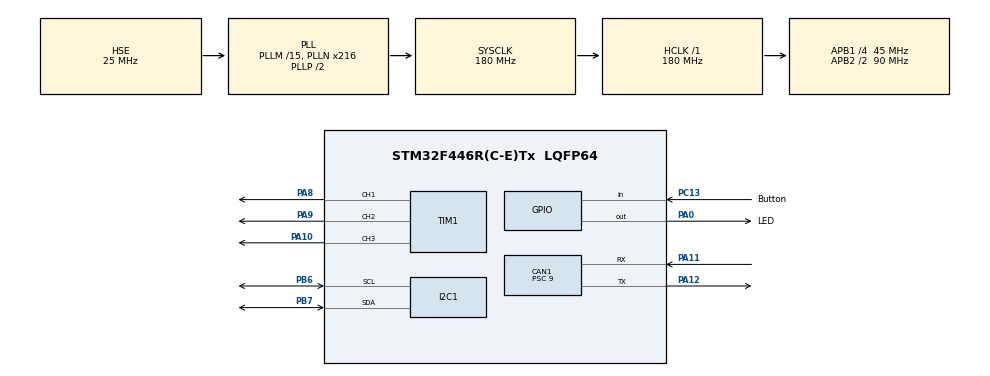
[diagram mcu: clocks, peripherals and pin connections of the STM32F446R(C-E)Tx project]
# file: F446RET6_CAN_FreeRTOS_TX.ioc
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CAN1.BS1=CAN_BS1_2TQ
CAN1.BS2=CAN_BS2_2TQ
CAN1.CalculateBaudRate=1000000
CAN1.CalculateTimeBit=1000
CAN1.CalculateTimeQuantum=200.0
CAN1.Prescaler=9
I2C1.I2C_Mode=I2C_Fast
Mcu.Family=STM32F4
Mcu.Name=STM32F446R(C-E)Tx
Mcu.Package=LQFP64
NVIC.CAN1_RX0_IRQn=true\:0\:0\:false\:false\:true\:true\:true\:true
NVIC.PriorityGroup=NVIC_PRIORITYGROUP_4
NVIC.TIM2_IRQn=true\:0\:0\:false\:false\:true\:true\:true\:true
PA0-WKUP.GPIO_Label=LED
PA0-WKUP.Signal=GPIO_Output
PA10.Signal=S_TIM1_CH3
PA11.Mode=CAN_Activate
PA11.Signal=CAN1_RX
PA12.Mode=CAN_Activate
PA12.Signal=CAN1_TX
PA13.Mode=Serial_Wire
PA13.Signal=SYS_JTMS-SWDIO
PA14.Mode=Serial_Wire
PA14.Signal=SYS_JTCK-SWCLK
PA8.Signal=S_TIM1_CH1
PA9.Signal=S_TIM1_CH2
PB6.Mode=I2C
PB6.Signal=I2C1_SCL
PB7.Mode=I2C
PB7.Signal=I2C1_SDA
PC13.GPIO_Label=Button
PC13.Signal=GPIO_Input
PH0-OSC_IN.Mode=HSE-External-Oscillator
PH0-OSC_IN.Signal=RCC_OSC_IN
PH1-OSC_OUT.Mode=HSE-External-Oscillator
PH1-OSC_OUT.Signal=RCC_OSC_OUT
ProjectManager.HeapSize=0x200
ProjectManager.StackSize=0x400
ProjectManager.TargetToolchain=STM32CubeIDE
RCC.AHBFreq_Value=180000000
RCC.APB1CLKDivider=RCC_HCLK_DIV4
RCC.APB1Freq_Value=45000000
RCC.APB1TimFreq_Value=90000000
RCC.APB2CLKDivider=RCC_HCLK_DIV2
RCC.APB2Freq_Value=90000000
RCC.APB2TimFreq_Value=180000000
RCC.CortexFreq_Value=180000000
RCC.HCLKFreq_Value=180000000
RCC.PLLM=15
RCC.PLLN=216
RCC.PLLSourceVirtual=RCC_PLLSOURCE_HSE
RCC.SYSCLKFreq_VALUE=180000000
RCC.SYSCLKSource=RCC_SYSCLKSOURCE_PLLCLK
RCC.USBFreq_Value=180000000
RCC.VCOOutputFreq_Value=360000000
SH.S_TIM1_CH1.0=TIM1_CH1,PWM Generation1 CH1
SH.S_TIM1_CH2.0=TIM1_CH2,PWM Generation2 CH2
SH.S_TIM1_CH3.0=TIM1_CH3,PWM Generation3 CH3
TIM1.AutoReloadPreload=TIM_AUTORELOAD_PRELOAD_ENABLE
TIM1.Channel-PWM\ Generation1\ CH1=TIM_CHANNEL_1
TIM1.Channel-PWM\ Generation2\ CH2=TIM_CHANNEL_2
TIM1.Channel-PWM\ Generation3\ CH3=TIM_CHANNEL_3
TIM2.AutoReloadPreload=TIM_AUTORELOAD_PRELOAD_ENABLE
TIM2.Period=9999
TIM2.Prescaler=89
VP_TIM2_VS_ClockSourceINT.Mode=Internal
board=custom

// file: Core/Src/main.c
/* USER CODE BEGIN Header */
/**
  ******************************************************************************
  * @file           : main.c
  * @brief          : Main program body
  ******************************************************************************
  * @attention
  *
  * Copyright (c) 2024 STMicroelectronics.
  * All rights reserved.
  *
  * This software is licensed under terms that can be found in the LICENSE file
  * in the root directory of this software component.
  * If no LICENSE file comes with this software, it is provided AS-IS.
  *
  ******************************************************************************
  */
/* USER CODE END Header */
#include "main.h"
#include "can.h"
#include "i2c.h"
#include "tim.h"
#include "gpio.h"

/* USER CODE BEGIN Includes */

#include "bno055_stm32.h"
#include "bno055.h"

/* USER CODE END Includes */

/* USER CODE BEGIN PTD */

//	/* EULER */
//
//		bno055_vector_t E;
//
//	/* QUATERNION */
//
//		bno055_vector_t Q;
//
//	/* ACCELEROMETER */
//
//		bno055_vector_t A;
//
//	/* MAGNETORMETER */
//
//		bno055_vector_t M;
//
//	/* CALIBRATION STATE */
//
//		bno055_vector_t C;
//
//	 /* GRAVITY */
//
//		bno055_vector_t Gra;
//
//	 /* GYROSCOPE */
//
//		bno055_vector_t Gyr;

/* USER CODE END PTD */

/* USER CODE BEGIN PV */

CAN_TxHeaderTypeDef TxHeader;
CAN_RxHeaderTypeDef RxHeader;

uint8_t TxData[8];
uint8_t RxData[8];

uint32_t TxMailbox;

int datacheck = 0;

float pwm_M1 = 0 ;
float pwm_M2 = 0 ;

float RxData1 = 0;
float RxData2 = 0;
float RxData3 = 0;
float RxData4 = 0;

float V1 = 0;
float V2 = 0;
float V3 = 0;
float V4 = 0;

uint16_t V1_out = 0;
uint16_t V2_out = 0;
uint16_t V3_out = 0;
uint16_t V4_out = 0;

uint8_t flag = 0;
uint8_t cntt;
uint8_t cnt;

//void HAL_GPIO_EXTI_Callback(uint16_t GPIO_Pin)
//{
//	if (GPIO_Pin == GPIO_PIN_13)
//	{
//		TxData[0] = 100;   // ms Delay
//		TxData[1] = 40;    // loop rep
//
//		HAL_CAN_AddTxMessage(&hcan1, &TxHeader, TxData, &TxMailbox);
//	}
//}
//
//
//void HAL_CAN_RxFifo0MsgPendingCallback(CAN_HandleTypeDef *hcan)
//{
//	HAL_CAN_GetRxMessage(&hcan1, CAN_RX_FIFO0, &RxHeader, RxData);
//	if (RxHeader.DLC == 2)
//	{
//		datacheck = 1;
//	}
//}

/* USER CODE END PV */

void SystemClock_Config(void);
/* USER CODE BEGIN PFP */

/* MAP */

float map(float Input, float Min_Input, float Max_Input, float Min_Output, float Max_Output) {
	return (float) ((Input - Min_Input) * (Max_Output - Min_Output) / (Max_Input - Min_Input) + Min_Output);
}

/* STM32 INTERUPP RECEIVER FROM USB CAN */

	void HAL_CAN_RxFifo0MsgPendingCallback(CAN_HandleTypeDef *hcan) {
		HAL_CAN_GetRxMessage(&hcan1, CAN_RX_FIFO0, &RxHeader, RxData);
		cntt++;
		while (cntt - 100 > 0) {
			HAL_GPIO_TogglePin(GPIOC, GPIO_PIN_13);
			cntt = 0;
		}

	/* DATA RECIEVER FROM USB CAN */

		if (RxHeader.DLC == 8) {
		RxData1 = (RxData[0] << 8) | RxData[1];
		RxData2 = (RxData[2] << 8) | RxData[3];
		RxData3 = (RxData[4] << 8) | RxData[5];
		RxData4 = (RxData[6] << 8) | RxData[7];

	/* TRANFER TO SPEED */

		/* M MOTOR */

			V1 = RxData1;
			V2 = RxData2;
			V3 = RxData3;
			V4 = RxData4;

			/* MAP TX DATA FROM 8BIT TO 16BIT (MOTOR ) */

				/* MAPPING MOTOR */
//
//					M1_out = map(M1, 0, 65535, -64, 64);
//					M2_out = map(M2, 0, 65535, -64, 64);
//
//					flag = 1;
	}
}

/* USER CODE END PFP */

int main(void)
{

  /* MCU Configuration--------------------------------------------------------*/

  /* Reset of all peripherals, Initializes the Flash interface and the Systick. */
  HAL_Init();

  /* Configure the system clock */
  SystemClock_Config();

  /* Initialize all configured peripherals */
  MX_GPIO_Init();
  MX_I2C1_Init();
  MX_CAN1_Init();
  MX_TIM1_Init();
  MX_TIM2_Init();
  /* USER CODE BEGIN 2 */

	  HAL_CAN_Start(&hcan1);

	  // Activate the notification
	  HAL_CAN_ActivateNotification(&hcan1, CAN_IT_RX_FIFO0_MSG_PENDING);

	  TxHeader.DLC = 8;  // data length
	  TxHeader.IDE = CAN_ID_STD;
	  TxHeader.RTR = CAN_RTR_DATA;
	  TxHeader.StdId = 0x446;  // ID

	  HAL_TIM_Base_Start_IT(&htim2);

	  HAL_TIM_PWM_Start(&htim1, TIM_CHANNEL_1);
	  HAL_TIM_PWM_Start(&htim1, TIM_CHANNEL_2);
	  HAL_TIM_PWM_Start(&htim1, TIM_CHANNEL_3);

	  V1_out = 65535;
	  V2_out = 65535;
	  V3_out = 65535;
	  V4_out = 65535;

  /* USER CODE END 2 */

  /* Infinite loop */
  while (1)
  {

  }
}

void SystemClock_Config(void)
{
  RCC_OscInitTypeDef RCC_OscInitStruct = {0};
  RCC_ClkInitTypeDef RCC_ClkInitStruct = {0};

  /** Configure the main internal regulator output voltage
  */
  __HAL_RCC_PWR_CLK_ENABLE();
  __HAL_PWR_VOLTAGESCALING_CONFIG(PWR_REGULATOR_VOLTAGE_SCALE1);

  /** Initializes the RCC Oscillators according to the specified parameters
  * in the RCC_OscInitTypeDef structure.
  */
  RCC_OscInitStruct.OscillatorType = RCC_OSCILLATORTYPE_HSE;
  RCC_OscInitStruct.HSEState = RCC_HSE_ON;
  RCC_OscInitStruct.PLL.PLLState = RCC_PLL_ON;
  RCC_OscInitStruct.PLL.PLLSource = RCC_PLLSOURCE_HSE;
  RCC_OscInitStruct.PLL.PLLM = 15;
  RCC_OscInitStruct.PLL.PLLN = 216;
  RCC_OscInitStruct.PLL.PLLP = RCC_PLLP_DIV2;
  RCC_OscInitStruct.PLL.PLLQ = 2;
  RCC_OscInitStruct.PLL.PLLR = 2;
  if (HAL_RCC_OscConfig(&RCC_OscInitStruct) != HAL_OK)
  {
    Error_Handler();
  }

  /** Activate the Over-Drive mode
  */
  if (HAL_PWREx_EnableOverDrive() != HAL_OK)
  {
    Error_Handler();
  }

  /** Initializes the CPU, AHB and APB buses clocks
  */
  RCC_ClkInitStruct.ClockType = RCC_CLOCKTYPE_HCLK|RCC_CLOCKTYPE_SYSCLK
                              |RCC_CLOCKTYPE_PCLK1|RCC_CLOCKTYPE_PCLK2;
  RCC_ClkInitStruct.SYSCLKSource = RCC_SYSCLKSOURCE_PLLCLK;
  RCC_ClkInitStruct.AHBCLKDivider = RCC_SYSCLK_DIV1;
  RCC_ClkInitStruct.APB1CLKDivider = RCC_HCLK_DIV4;
  RCC_ClkInitStruct.APB2CLKDivider = RCC_HCLK_DIV2;

  if (HAL_RCC_ClockConfig(&RCC_ClkInitStruct, FLASH_LATENCY_5) != HAL_OK)
  {
    Error_Handler();
  }
}

/* USER CODE BEGIN 4 */

void HAL_TIM_PeriodElapsedCallback(TIM_HandleTypeDef *htim) {
	if (htim->Instance == TIM2) {
		TIM1->CCR1 = V1;
		TIM1->CCR2 = V2;
		TIM1->CCR3 = V3;

	/* TX DATA SEND TO PC MAP 16BIT TO 8BIT COZ DATA CAN 1DATA=8BIT */

		TxData[0] = ((V1_out & 0xFF00) >> 8);
		TxData[1] = (V1_out & 0x00FF);
		TxData[2] = ((V2_out & 0xFF00) >> 8);
		TxData[3] = (V2_out & 0x00FF);
		TxData[4] = ((V3_out & 0xFF00) >> 8);
		TxData[5] = (V3_out & 0x00FF);
		TxData[6] = ((V4_out & 0xFF00) >> 8);
		TxData[7] = (V4_out & 0x00FF);

		if (!(HAL_GPIO_ReadPin(GPIOC, GPIO_PIN_13))) {
			HAL_CAN_AddTxMessage(&hcan1, &TxHeader, TxData, &TxMailbox);

		}
	}

}

/* USER CODE END 4 */

void Error_Handler(void)
{
  __disable_irq();
  while (1)
  {
  }
}
